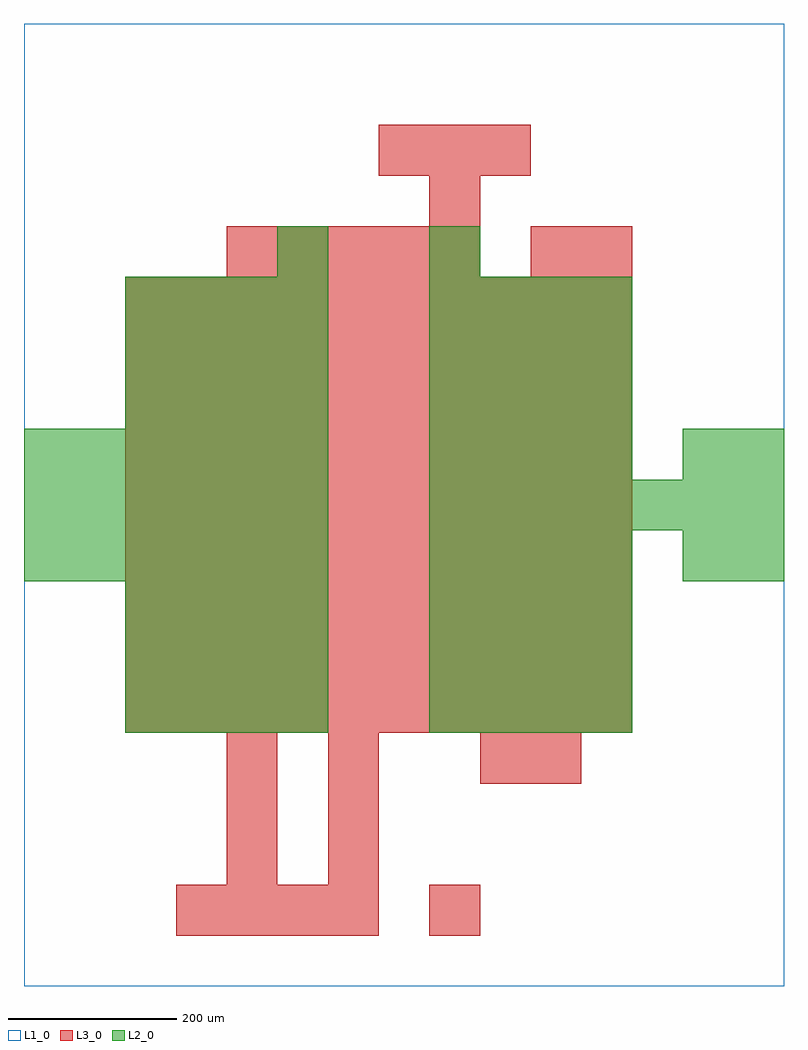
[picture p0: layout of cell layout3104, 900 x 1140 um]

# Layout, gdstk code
import gdstk
lib = gdstk.Library(unit=1e-6, precision=1e-09)
def R(c, l, rs):  # rectangles x0, y0, x1, y1
    for r in rs: c.add(gdstk.rectangle(r[:2], r[2:], *l))
def A(c, l, x, y, w, h, nx, ny, dx, dy):  # array of equal rectangles
    R(c, l, [(x+i*dx, y+j*dy, x+i*dx+w, y+j*dy+h) for i in range(nx) for j in range(ny)])
L1_0 = (1, 0)
L2_0 = (2, 0)
L3_0 = (3, 0)

layout3104 = lib.new_cell('layout3104')
R(layout3104, L1_0, [(0,0,900,1140)])
A(layout3104, L2_0, 120, 300, 60, 60, 4, 3, 60, 60)
A(layout3104, L2_0, 480, 300, 60, 60, 4, 4, 60, 60)
A(layout3104, L2_0, 0, 480, 60, 60, 6, 3, 60, 60)
A(layout3104, L2_0, 480, 540, 60, 60, 7, 1, 60, 0)
A(layout3104, L2_0, 480, 600, 60, 60, 4, 4, 60, 60)
A(layout3104, L2_0, 120, 660, 60, 60, 4, 3, 60, 60)
R(layout3104, L2_0, [(780,480,840,540), (840,480,900,540), (780,600,840,660), (840,600,900,660), (300,840,360,900), (480,840,540,900)])
A(layout3104, L3_0, 180, 60, 60, 60, 4, 1, 60, 0)
A(layout3104, L3_0, 240, 120, 60, 60, 1, 3, 0, 60)
A(layout3104, L3_0, 360, 120, 60, 60, 1, 3, 0, 60)
A(layout3104, L3_0, 120, 300, 60, 60, 10, 9, 60, 60)
A(layout3104, L3_0, 240, 840, 60, 60, 5, 1, 60, 0)
A(layout3104, L3_0, 420, 960, 60, 60, 3, 1, 60, 0)
R(layout3104, L3_0, [(480,60,540,120), (540,240,600,300), (600,240,660,300), (600,840,660,900), (660,840,720,900), (480,900,540,960)])

lib.write_gds('layout3104.gds')
